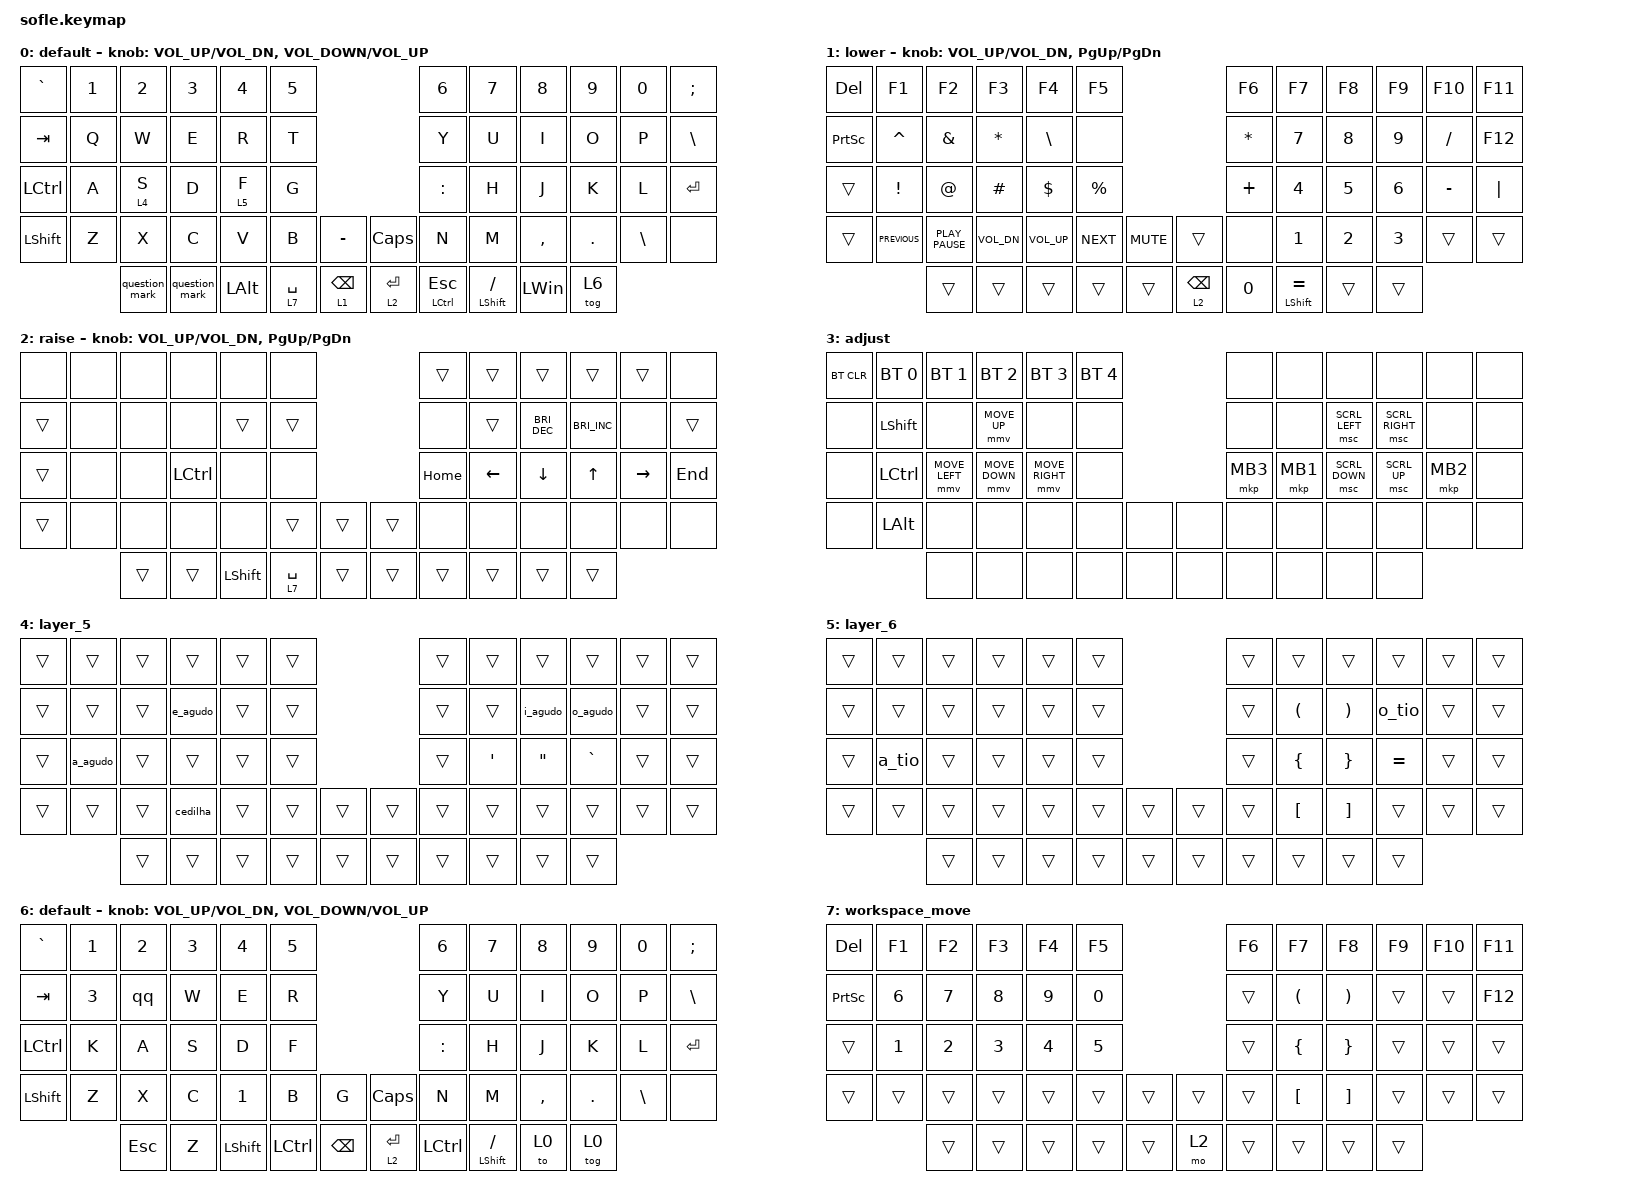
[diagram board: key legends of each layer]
/*
 * Copyright (c) 2020 The ZMK Contributors
 *
 * SPDX-License-Identifier: MIT
 */

#include <behaviors.dtsi>
#include <dt-bindings/zmk/bt.h>
#include <dt-bindings/zmk/keys.h>
#include <dt-bindings/zmk/pointing.h>

#define BASE 0
#define LOWER 1
#define RAISE 2
#define ADJUST 3
#define ZMK_POINTING_DEFAULT_MOVE_VAL 1500  // default: 600
#define ZMK_POINTING_DEFAULT_SCRL_VAL 20    // default: 10

/ {
    // Activate ADJUST layer by pressing raise and lower

    conditional_layers {
        compatible = "zmk,conditional-layers";

        adjust_layer {
            if-layers = <1 2>;
            then-layer = <3>;
        };
    };

    combos {
        compatible = "zmk,combos";

        ponto_virgula {
            bindings = <&kp SEMICOLON>;
            key-positions = <30 31>;
        };

        hifen {
            bindings = <&kp MINUS>;
            key-positions = <28 29>;
        };
    };

    macros {
        qq: qq {
            compatible = "zmk,behavior-macro";
            #binding-cells = <0>;
            bindings = <&kp Q &kp Q>;
            label = "QQ";
        };

        e_agudo: e_agudo {
            compatible = "zmk,behavior-macro";
            #binding-cells = <0>;
            bindings = <&kp CAPSLOCK &kp E &kp SQT>;
            label = "E_AGUDO";
        };

        a_agudo: a_agudo {
            compatible = "zmk,behavior-macro";
            #binding-cells = <0>;
            bindings = <&kp CAPSLOCK &kp A &kp SQT>;
            label = "A_AGUDO";
        };

        o_agudo: o_agudo {
            compatible = "zmk,behavior-macro";
            #binding-cells = <0>;
            bindings = <&kp CAPSLOCK &kp O &kp SQT>;
            label = "O_AGUDO";
        };

        cedilha: cedilha {
            compatible = "zmk,behavior-macro";
            #binding-cells = <0>;
            bindings = <&kp CAPSLOCK &kp C &kp COMMA>;
            label = "CEDILHA";
        };

        a_tio: a_tio {
            compatible = "zmk,behavior-macro";
            #binding-cells = <0>;
            bindings = <&kp CAPS &kp A &kp TILDE>;
            label = "A_TIO";
        };

        o_tio: o_tio {
            compatible = "zmk,behavior-macro";
            #binding-cells = <0>;
            bindings = <&kp CAPS &kp O &kp TILDE>;
            label = "O_TIO";
        };

        alt_space: alt_space {
            compatible = "zmk,behavior-macro";
            #binding-cells = <0>;
            bindings = <&kp LA(SPACE)>;
            label = "ALT_SPACE";
        };

        question_mark: question_mark {
            compatible = "zmk,behavior-macro";
            #binding-cells = <0>;
            bindings = <&kp LEFT_SHIFT &kp LS(SLASH)>;
            label = "QUESTION_MARK";
        };

        i_agudo: i_agudo {
            compatible = "zmk,behavior-macro";
            #binding-cells = <0>;
            bindings = <&kp CAPSLOCK &kp I &kp SQT>;
            label = "I_AGUDO";
        };

        wk1: wk1 {
            compatible = "zmk,behavior-macro";
            #binding-cells = <0>;
            bindings = <&kp LEFT_ALT &kp LA(NUMBER_1)>;
            label = "WK1";
        };

        wk2: wk2 {
            compatible = "zmk,behavior-macro";
            #binding-cells = <0>;
            bindings = <&kp LEFT_ALT &kp LA(NUMBER_2)>;
            label = "WK2";
        };

        wk3: wk3 {
            compatible = "zmk,behavior-macro";
            #binding-cells = <0>;
            bindings = <&kp LEFT_ALT &kp LA(NUMBER_3)>;
            label = "WK3";
        };

        wk4: wk4 {
            compatible = "zmk,behavior-macro";
            #binding-cells = <0>;
            bindings = <&kp LALT &kp LA(NUMBER_4)>;
            label = "WK4";
        };
    };

    keymap {
        compatible = "zmk,keymap";

        default_layer {
            display-name = "default";

            // ------------------------------------------------------------------------------------------------------------
            // |   `   |  1  |  2  |  3   |  4   |  5   |                   |  6   |  7    |  8    |  9   |   0   |       |
            // |  ESC  |  Q  |  W  |  E   |  R   |  T   |                   |  Y   |  U    |  I    |  O   |   P   | BKSPC |
            // |  TAB  |  A  |  S  |  D   |  F   |  G   |                   |  H   |  J    |  K    |  L   |   ;   |   '   |
            // | SHIFT |  Z  |  X  |  C   |  V   |  B   |  MUTE  |  |       |  N   |  M    |  ,    |  .   |   /   | SHIFT |
            //               | GUI | ALT  | CTRL | LOWER|  ENTER |  | SPACE | RAISE| CTRL  | ALT   | GUI  |

            bindings = <
&kp GRAVE  &kp N1  &kp N2          &kp N3          &kp N4        &kp N5                                        &kp N6            &kp N7                &kp N8        &kp N9   &kp N0         &kp SEMICOLON
&kp TAB    &kp Q   &kp W           &kp E           &kp R         &kp T                                         &kp Y             &kp U                 &kp I         &kp O    &kp P          &kp BACKSLASH
&kp LCTRL  &kp A   &lt 4 S         &kp D           &lt 5 F       &kp G                                         &kp COLON         &kp H                 &kp J         &kp K    &kp L          &kp ENTER
&kp LSHFT  &kp Z   &kp X           &kp C           &kp V         &kp B        &kp MINUS          &kp CAPSLOCK  &kp N             &kp M                 &kp COMMA     &kp DOT  &kp BACKSLASH  &none
                   &question_mark  &question_mark  &kp LEFT_ALT  &lt 7 SPACE  &lt 1 BACKSPACE    &lt 2 ENTER   &mt LCTRL ESCAPE  &mt LEFT_SHIFT SLASH  &kp LEFT_WIN  &tog 6
            >;

            sensor-bindings =
                <&inc_dec_kp C_VOL_UP C_VOL_DN>,
                <&inc_dec_kp C_VOLUME_DOWN C_VOLUME_UP>;
        };

        num_sym {
            display-name = "lower";

            // TODO: Some binds are waiting for shifted keycode support.
            // ------------------------------------------------------------------------------------------------------------
            // |       |  F1 |  F2 |  F3  |  F4  |  F5  |                   |  F6  |  F7   |  F8   |  F9  |  F10  |  F11  |
            // |   `   |  1  |  2  |  3   |  4   |  5   |                   |  6   |  7    |  8    |  9   |   0   |  F12  |
            // |       |  !  |  @  |  #   |  $   |  %   |                   |  ^   |  &    |  *    |  (   |   )   |   |   |
            // |       |  =  |  -  |  +   |  {   |  }   |        |  |       |  [   |  ]    |  ;    |  :   |   \   |       |
            //               |     |      |      |      |        |  |       |      |       |       |      |

            bindings = <
&kp DEL          &kp F1           &kp F2            &kp F3        &kp F4           &kp F5                                      &kp F6        &kp F7                &kp F8        &kp F9        &kp F10    &kp F11
&kp PRINTSCREEN  &kp CARET        &kp AMPERSAND     &kp ASTERISK  &kp BACKSLASH    &none                                       &kp ASTERISK  &kp N7                &kp N8        &kp N9        &kp SLASH  &kp F12
&trans           &kp EXCLAMATION  &kp AT_SIGN       &kp HASH      &kp DOLLAR       &kp PERCENT                                 &kp PLUS      &kp NUMBER_4          &kp N5        &kp NUMBER_6  &kp MINUS  &kp PIPE
&trans           &kp C_PREVIOUS   &kp K_PLAY_PAUSE  &kp C_VOL_DN  &kp C_VOLUME_UP  &kp C_NEXT   &kp C_MUTE    &trans           &none         &kp NUMBER_1          &kp NUMBER_2  &kp NUMBER_3  &trans     &trans
                                  &trans            &trans        &trans           &trans       &trans        &lt 2 BACKSPACE  &kp N0        &mt LEFT_SHIFT EQUAL  &trans        &trans
            >;

            sensor-bindings = <&inc_dec_kp C_VOL_UP C_VOL_DN &inc_dec_kp PG_UP PG_DN>;
        };

        arrow_keys {
            display-name = "raise";

            // ------------------------------------------------------------------------------------------------------------
            // | BTCLR | BT1  | BT2  |  BT3  |  BT4  |  BT5 |                |      |      |       |      |       |       |
            // |       | INS  | PSCR | GUI   |       |      |                | PGUP |      |   ^   |      |       |       |
            // |       | ALT  | CTRL | SHIFT |       | CAPS |                | PGDN |   <- |   v   |  ->  |  DEL  | BKSPC |
            // |       | UNDO | CUT  | COPY  | PASTE |      |      |  |      |      |      |       |      |       |       |
            //                |      |       |       |      |      |  |      |      |      |       |      |

            bindings = <
&none   &none  &none   &none      &none           &none                          &trans    &trans    &trans         &trans         &trans     &none
&trans  &none  &none   &none      &trans          &trans                         &none     &trans    &kp C_BRI_DEC  &kp C_BRI_INC  &none      &trans
&trans  &none  &none   &kp LCTRL  &none           &none                          &kp HOME  &kp LEFT  &kp DOWN       &kp UP_ARROW   &kp RIGHT  &kp END
&trans  &none  &none   &none      &none           &trans       &trans    &trans  &none     &none     &none          &none          &none      &none
               &trans  &trans     &kp LEFT_SHIFT  &lt 7 SPACE  &trans    &trans  &trans    &trans    &trans         &trans
            >;

            sensor-bindings = <&inc_dec_kp C_VOL_UP C_VOL_DN &inc_dec_kp PG_UP PG_DN>;
        };

        mouse {
            // ----------------------------------------------------------------------------------------------------------------------------
            // | BTCLR  |  BT1    |  BT2    |   BT3   |   BT4   |   BT5   |                  |      |      |       |      |       |       |
            // | EXTPWR | RGB_HUD | RGB_HUI | RGB_SAD | RGB_SAI | RGB_EFF |                  |      |      |       |      |       |       |
            // |        | RGB_BRD | RGB_BRI |         |         |         |                  |      |      |       |      |       |       |
            // |        |         |         |         |         |         | RGB_TOG | |      |      |      |       |      |       |       |
            //                    |         |         |         |         |         | |      |      |      |       |      |

            display-name = "adjust";
            bindings = <
&bt BT_CLR  &bt BT_SEL 0    &bt BT_SEL 1    &bt BT_SEL 2    &bt BT_SEL 3     &bt BT_SEL 4                  &none     &none     &none           &none            &none     &none
&none       &kp LEFT_SHIFT  &none           &mmv MOVE_UP    &none            &none                         &none     &none     &msc SCRL_LEFT  &msc SCRL_RIGHT  &none     &none
&none       &kp LCTRL       &mmv MOVE_LEFT  &mmv MOVE_DOWN  &mmv MOVE_RIGHT  &none                         &mkp MB3  &mkp MB1  &msc SCRL_DOWN  &msc SCRL_UP     &mkp MB2  &none
&none       &kp LEFT_ALT    &none           &none           &none            &none         &none    &none  &none     &none     &none           &none            &none     &none
                            &none           &none           &none            &none         &none    &none  &none     &none     &none           &none
            >;
        };

        layer_5 {
            bindings = <
&trans  &trans    &trans  &trans    &trans  &trans                    &trans  &trans   &trans             &trans     &trans  &trans
&trans  &trans    &trans  &e_agudo  &trans  &trans                    &trans  &trans   &i_agudo           &o_agudo   &trans  &trans
&trans  &a_agudo  &trans  &trans    &trans  &trans                    &trans  &kp SQT  &kp DOUBLE_QUOTES  &kp GRAVE  &trans  &trans
&trans  &trans    &trans  &cedilha  &trans  &trans  &trans    &trans  &trans  &trans   &trans             &trans     &trans  &trans
                  &trans  &trans    &trans  &trans  &trans    &trans  &trans  &trans   &trans             &trans
            >;
        };

        layer_6 {
            bindings = <
&trans  &trans  &trans  &trans  &trans  &trans                    &trans  &trans                &trans                 &trans     &trans  &trans
&trans  &trans  &trans  &trans  &trans  &trans                    &trans  &kp LEFT_PARENTHESIS  &kp RIGHT_PARENTHESIS  &o_tio     &trans  &trans
&trans  &a_tio  &trans  &trans  &trans  &trans                    &trans  &kp LEFT_BRACE        &kp RIGHT_BRACE        &kp EQUAL  &trans  &trans
&trans  &trans  &trans  &trans  &trans  &trans  &trans    &trans  &trans  &kp LEFT_BRACKET      &kp RIGHT_BRACKET      &trans     &trans  &trans
                &trans  &trans  &trans  &trans  &trans    &trans  &trans  &trans                &trans                 &trans
            >;
        };

        gaming {
            display-name = "default";
            bindings = <
&kp GRAVE  &kp N1        &kp N2      &kp N3  &kp N4          &kp N5                                    &kp N6     &kp N7                &kp N8     &kp N9   &kp N0         &kp SEMICOLON
&kp TAB    &kp NUMBER_3  &qq         &kp W   &kp E           &kp R                                     &kp Y      &kp U                 &kp I      &kp O    &kp P          &kp BACKSLASH
&kp LCTRL  &kp K         &kp A       &kp S   &kp D           &kp F                                     &kp COLON  &kp H                 &kp J      &kp K    &kp L          &kp ENTER
&kp LSHFT  &kp Z         &kp X       &kp C   &kp NUMBER_1    &kp B      &kp G            &kp CAPSLOCK  &kp N      &kp M                 &kp COMMA  &kp DOT  &kp BACKSLASH  &none
                         &kp ESCAPE  &kp Z   &kp LEFT_SHIFT  &kp LCTRL  &kp BACKSPACE    &lt 2 ENTER   &kp LCTRL  &mt LEFT_SHIFT SLASH  &to 0      &tog 0
            >;

            sensor-bindings =
                <&inc_dec_kp C_VOL_UP C_VOL_DN>,
                <&inc_dec_kp C_VOLUME_DOWN C_VOLUME_UP>;
        };

        workspace_move {
            bindings = <
&kp DELETE       &kp F1        &kp F2        &kp F3        &kp F4        &kp F5                    &kp F6  &kp F7                &kp F8                 &kp F9  &kp F10  &kp F11
&kp PRINTSCREEN  &kp NUMBER_6  &kp N7        &kp N8        &kp N9        &kp N0                    &trans  &kp LEFT_PARENTHESIS  &kp RIGHT_PARENTHESIS  &trans  &trans   &kp F12
&trans           &kp NUMBER_1  &kp NUMBER_2  &kp NUMBER_3  &kp NUMBER_4  &kp N5                    &trans  &kp LEFT_BRACE        &kp RIGHT_BRACE        &trans  &trans   &trans
&trans           &trans        &trans        &trans        &trans        &trans  &trans    &trans  &trans  &kp LEFT_BRACKET      &kp RIGHT_BRACKET      &trans  &trans   &trans
                               &trans        &trans        &trans        &trans  &trans    &mo 2   &trans  &trans                &trans                 &trans
            >;
        };
    };
};
